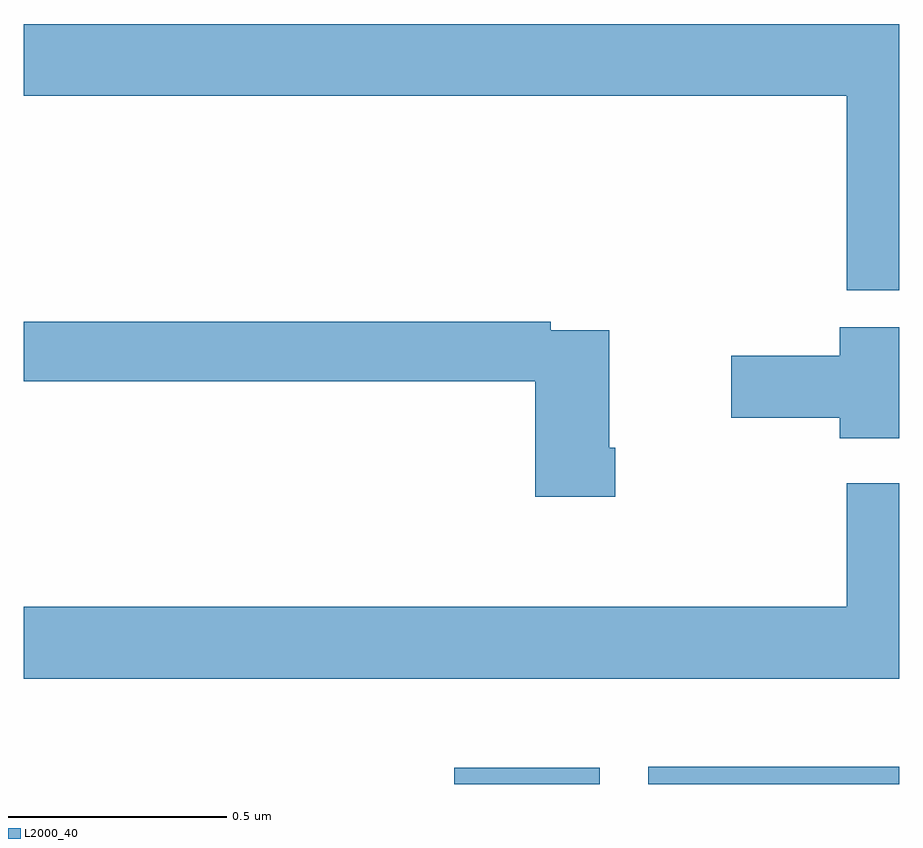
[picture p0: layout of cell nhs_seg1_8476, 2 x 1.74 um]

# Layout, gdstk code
import gdstk
lib = gdstk.Library(unit=1e-6, precision=1e-09)
def R(c, l, rs):  # rectangles x0, y0, x1, y1
    for r in rs: c.add(gdstk.rectangle(r[:2], r[2:], *l))
def P(c, l, *ps):  # polygons
    for p in ps: c.add(gdstk.Polygon(p, *l))
L2000_40 = (2000, 40)

nhs_seg1_8476 = lib.new_cell('nhs_seg1_8476')
R(nhs_seg1_8476, L2000_40, [(217.983,510.199,218.316,510.236), (218.427,510.199,219,510.238)])
P(nhs_seg1_8476, L2000_40, [(219,511.936),(217,511.936),(217,511.772),(218.88,511.772),(218.88,511.328),(219,511.328)],
  [(218.351,510.967),(218.338,510.967),(218.338,511.236),(218.204,511.236),(218.204,511.256),(217,511.256),(217,511.12),(218.168,511.12),(218.168,510.855),(218.351,510.855)],
  [(219,511.243),(218.864,511.243),(218.864,511.178),(218.616,511.178),(218.616,511.036),(218.864,511.036),(218.864,510.989),(219,510.989)],
  [(219,510.886),(218.88,510.886),(218.88,510.604),(217,510.604),(217,510.44),(219,510.44)])

lib.write_gds('nhs_seg1_8476.gds')
